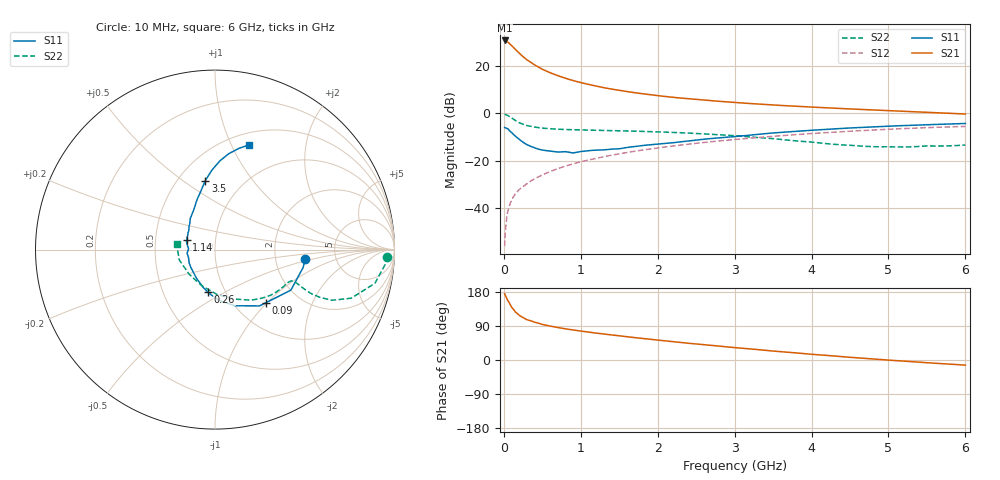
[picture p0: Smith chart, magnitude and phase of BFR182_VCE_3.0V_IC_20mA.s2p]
! Infineon Technologies  Discrete & RF Semiconductors
! BFR182
! VCE =  3.0 V,  IC =  20 mA
! Common Emitter S-Parameters:  Nov 2015
# GHz  S  MA  R  50
!  f  S11  S21  S12  S22
! GHz  MAG  ANG  MAG  ANG  MAG  ANG  MAG  ANG
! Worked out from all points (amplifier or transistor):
!   210 points, 10 MHz to 6 GHz, reference 50 ohm
!   highest |S21| = 30.8 dB at 10 MHz (marker M1)
!   |S21| within 3 dB of that: start of sweep to 127.1 MHz
!   unconditionally stable (mu >= 1): 499.8 MHz to 2.483 GHz
!   at 185 MHz: K = 0.70, MSG = 29.2 dB, |S12| = -32.6 dB
!   at 1.52 GHz: K = 1.05, MAG = 11.9 dB, |S12| = -16.9 dB
!   at 6 GHz: K = 0.90, MSG = 2.6 dB, |S12| = -5.5 dB
!   S11 on the Smith chart (normalised r, x): 10 MHz: 2.97, -0.43; 90 MHz: 1.38, -0.98; 260 MHz: 0.83, -0.42; 1.14 GHz: 0.72, +0.08; 3.5 GHz: 0.67, +0.61; 6 GHz: 0.63, +1.18
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0.01  0.5052 -6.1  34.5 174.9  0.0016 94.8  0.9617 -2.3
0.02  0.501 -11.5  33.93 170.2  0.0033 81.2  0.9517 -5.0
0.05  0.4793 -28.1  32.23 157.4  0.0085 80.3  0.9106 -11.9
0.09  0.4096 -46.3  28 143.6  0.0136 74.2  0.8245 -18.0
0.1  0.3999 -51.7  27.25 139.6  0.0149 73.3  0.8046 -19.7
0.15  0.3329 -70.1  22.33 126.5  0.0203 71.1  0.7072 -23.5
0.2  0.2868 -84.6  18.57 117.9  0.0249 70.8  0.6385 -24.5
0.26  0.2413 -99.1  15.2 110.4  0.0297 70.8  0.5825 -24.5
0.3  0.2201 -107.7  13.48 106.4  0.0331 71.5  0.5556 -24.1
0.4  0.1891 -123.5  10.52 99.7  0.0422 72.7  0.5158 -23.1
0.5  0.1695 -140.7  8.534 93.8  0.0504 73.7  0.4905 -22.3
0.7  0.154 -163.0  6.256 85.6  0.0686 73.9  0.4661 -22.1
0.8  0.157 -172.6  5.497 82.2  0.0776 73.1  0.4585 -22.4
1.02  0.159 168.8  4.387 75.8  0.0976 72.4  0.448 -23.9
1.14  0.1664 161.8  3.96 72.6  0.1084 71.8  0.4429 -25.0
1.6  0.1927 139.0  2.885 61.2  0.1507 68.5  0.4274 -30.6
2.02  0.2278 125.8  2.351 52.1  0.1897 64.9  0.4086 -36.8
3.1  0.3372 103.3  1.66 31.1  0.2922 53.9  0.3301 -58.0
3.5  0.3884 98.0  1.507 23.6  0.3306 49.6  0.2947 -69.2
4.1  0.4526 91.1  1.338 13.6  0.3864 42.2  0.2395 -91.7
5.1  0.5481 80.6  1.134 -1.6  0.4727 29.7  0.1969 -142.1
6  0.6148 71.8  0.974 -13.6  0.5328 17.3  0.2163 171.9
